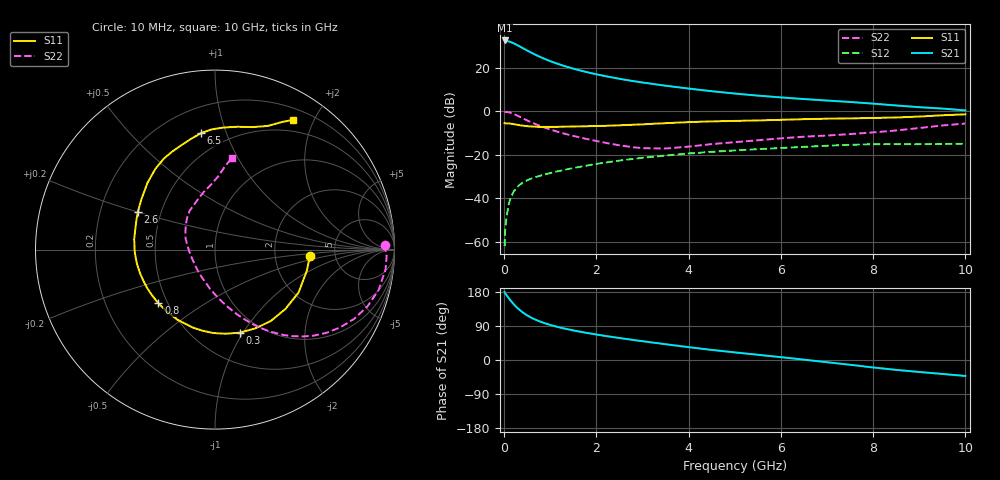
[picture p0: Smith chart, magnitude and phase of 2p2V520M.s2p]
! (c) 2009  Infineon Technologies AG, Munich
! Infineon Technologies  Discrete & RF Semiconductors
! BFP420
! VCE =  2.5 V,  IC =  20 mA
! Common Emitter S-Parameters:  Nov 2009
# GHz  S  MA  R  50
!  f  S11  S21  S12  S22
! GHz  MAG  ANG  MAG  ANG  MAG  ANG  MAG  ANG
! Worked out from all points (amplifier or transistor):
!   46 points, 10 MHz to 10 GHz, reference 50 ohm
!   highest |S21| = 32.4 dB at 10 MHz (marker M1)
!   |S21| within 3 dB of that: start of sweep to 359.7 MHz
!   unconditionally stable (mu >= 1): start of sweep to 11.26 MHz; 1.81 GHz to end of sweep
!   at 300 MHz: K = 0.31, MSG = 32.3 dB, |S12| = -34.5 dB
!   at 1.7 GHz: K = 0.97, MSG = 21.8 dB, |S12| = -25.3 dB
!   at 10 GHz: K = 1.07, MAG = 6.1 dB, |S12| = -15.0 dB
!   lowest NFmin = 1.23 dB at 900 MHz
!   S11 on the Smith chart (normalised r, x): 10 MHz: 3.23, -0.33; 300 MHz: 0.80, -0.97; 800 MHz: 0.45, -0.33; 2.6 GHz: 0.37, +0.20; 6.5 GHz: 0.36, +0.82; 10 GHz: 0.34, +1.72
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0.01  0.5311 -4.0  41.71 179.1  0.0008 85.6  0.9459 1.7
0.02  0.5286 -5.3  40.81 176.4  0.0018 90.0  0.9569 -2.2
0.05  0.5246 -13.2  40.48 171.4  0.0036 84.8  0.9568 -6.6
0.1  0.5235 -27.1  39.64 163.2  0.0075 78.9  0.9392 -13.8
0.15  0.5132 -40.1  38.05 155.4  0.0109 75.4  0.9068 -20.4
0.2  0.5049 -52.1  36.16 148.3  0.0139 70.9  0.8663 -26.4
0.25  0.4929 -63.1  33.99 141.7  0.0166 67.5  0.8218 -31.8
0.3  0.4827 -73.5  31.96 135.8  0.0189 64.6  0.7754 -36.7
0.4  0.4649 -91.2  27.97 125.8  0.0229 60.0  0.6878 -44.7
0.5  0.4517 -105.8  24.47 117.7  0.026 57.1  0.6109 -51.2
0.6  0.4434 -118.0  21.54 110.9  0.0287 55.2  0.5467 -56.4
0.8  0.4346 -136.6  17.08 100.5  0.0334 53.5  0.4487 -64.6
1  0.4345 -150.5  14 92.5  0.038 52.7  0.3789 -71.4
1.2  0.4374 -161.2  11.76 86.0  0.0426 52.3  0.327 -77.5
1.7  0.4486 179.0  8.287 73.5  0.0543 50.9  0.2412 -91.9
2.6  0.478 154.0  5.285 56.2  0.0756 45.5  0.1584 -123.4
3.5  0.5291 135.3  3.821 41.6  0.0959 38.2  0.139 -165.8
5.5  0.6112 107.8  2.267 13.8  0.1339 20.5  0.2146 139.0
6.5  0.6538 96.8  1.89 0.9  0.1513 11.6  0.2592 122.9
7  0.6699 91.6  1.747 -5.8  0.1605 6.9  0.2754 115.2
8.5  0.7146 72.8  1.346 -26.1  0.1746 -10.0  0.3602 93.9
10  0.8439 59.0  1.038 -42.1  0.1781 -21.1  0.5186 79.6
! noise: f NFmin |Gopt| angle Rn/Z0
0.9  1.23  0.16  -154  0.13
1.8  1.51  0.24  -144  0.13
2.4  1.66  0.22  -141  0.15
3  1.69  0.3  -132  0.16
4  1.82  0.42  -115  0.23
5  2.28  0.48  -96  0.37
6  2.65  0.52  -86  0.56
